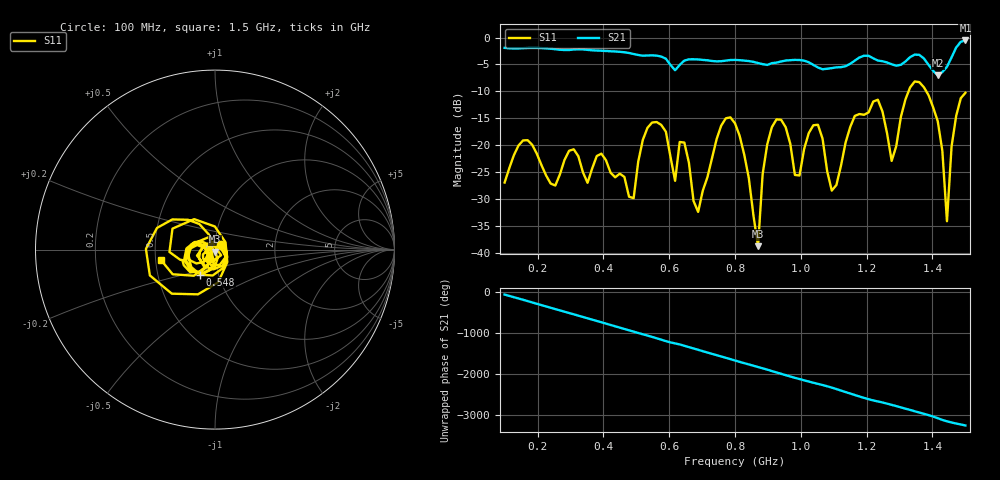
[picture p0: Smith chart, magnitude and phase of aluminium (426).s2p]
! NanoVNA-App
! Date: 2025-09-25 14:58:36
! Start: 100MHz Stop: 1,5GHz Points: 101
! S-Parameter data: F S11 S21 S12 S22
# Hz S RI R 50
!  Frequency  S11_Real  S11_Imag  S21_Real  S21_Imag  S12_Real  S12_Imag  S22_Real  S22_Imag
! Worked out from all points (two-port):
!   101 points, 100 MHz to 1.5 GHz, reference 50 ohm
!   highest |S21| = -0.54 dB at 1.5 GHz (marker M1); lowest = -7.0 dB at 1.416 GHz (marker M2)
!   |S21| within 3 dB of the highest: start of sweep to 576.3 MHz; 1.459 GHz to end of sweep (the widest 2 of 4)
!   lowest |S11| = -38.8 dB at 870 MHz (marker M3), VSWR 1.02, Z = 50.2 - j1.14 ohm
!   |S11| at or under -10 dB: start of sweep to 1.327 GHz; 1.381 GHz to end of sweep
!   S12 and S22 are empty: the file has one direction only
!   S11 on the Smith chart (normalised r, x): 100 MHz: 1.07, +0.06; 548 MHz: 0.82, -0.24; 1.5 GHz: 0.53, -0.07
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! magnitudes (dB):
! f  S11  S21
! 100 MHz  -27.0  -1.9
! 156 MHz  -19.1  -2.0
! 338 MHz  -25.1  -2.2
! 492 MHz  -29.9  -3.1
! 548 MHz  -15.8  -3.3
! 576 MHz  -16.3  -3.5
! 618 MHz  -26.6  -6.1
! 646 MHz  -19.5  -4.3
! 688 MHz  -32.4  -4.1
! 800 MHz  -15.9  -4.2
! 870 MHz  -38.8  -4.7
! 912 MHz  -16.7  -4.8
! 996 MHz  -25.6  -4.2
! 1.038 GHz  -16.3  -5.1
! 1.094 GHz  -28.5  -5.7
! 1.22 GHz  -11.9  -3.9
! 1.276 GHz  -22.9  -5.0
! 1.346 GHz  -8.2  -3.2
! 1.416 GHz  -15.6  -7.0
! 1.444 GHz  -34.1  -5.4
! 1.458 GHz  -20.3  -3.7
! 1.5 GHz  -10.3  -0.5
